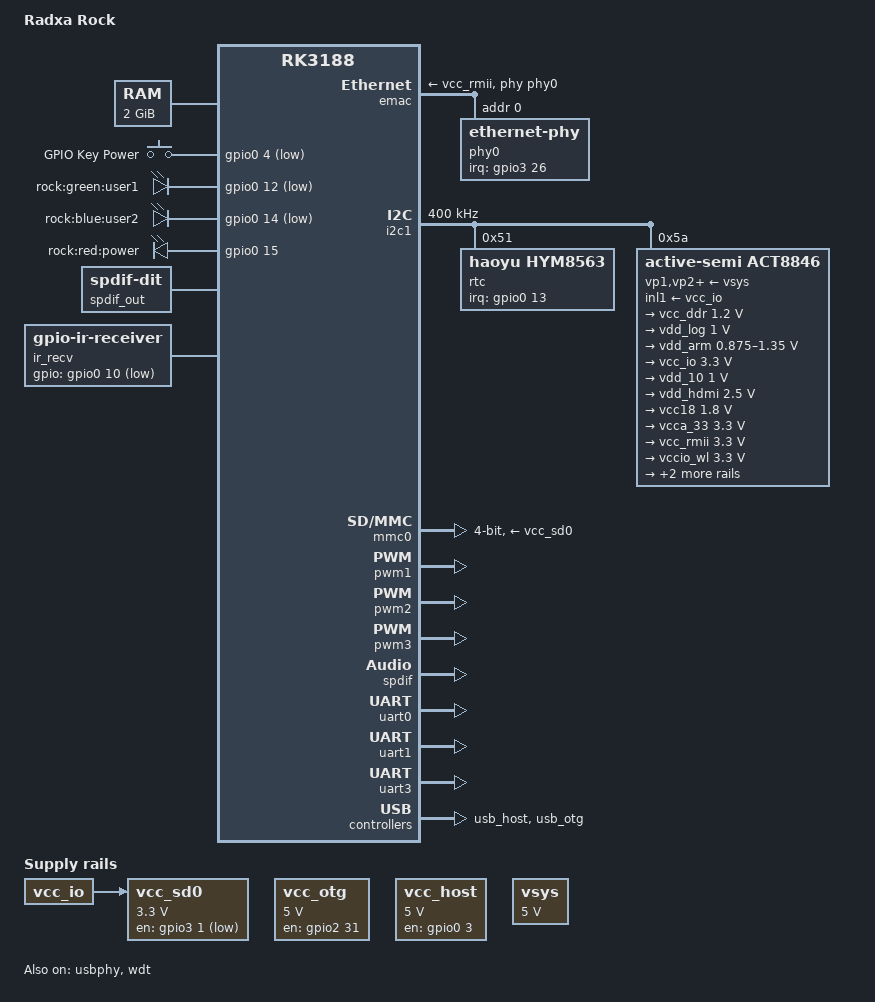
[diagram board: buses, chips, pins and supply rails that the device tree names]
// SPDX-License-Identifier: GPL-2.0+ OR X11
/*
 * Copyright (c) 2013 Heiko Stuebner <heiko@sntech.de>
 */

/dts-v1/;
#include <dt-bindings/input/input.h>
#include "rk3188.dtsi"
#include "rk3188-radxarock-u-boot.dtsi"

/ {
	model = "Radxa Rock";
	compatible = "radxa,rock", "rockchip,rk3188";

	chosen {
/*		stdout-path = &uart2; */
		stdout-path = "serial2:115200n8";
	};

	config {
		u-boot,dm-pre-reloc;
		u-boot,boot-led = "rock:red:power";
	};

	memory {
		device_type = "memory";
		reg = <0x60000000 0x80000000>;
	};

	gpio-keys {
		compatible = "gpio-keys";
		autorepeat;

		power {
			gpios = <&gpio0 4 GPIO_ACTIVE_LOW>;
			linux,code = <KEY_POWER>;
			label = "GPIO Key Power";
			linux,input-type = <1>;
			wakeup-source;
			debounce-interval = <100>;
		};
	};

	gpio-leds {
		compatible = "gpio-leds";

		green {
			label = "rock:green:user1";
			gpios = <&gpio0 12 GPIO_ACTIVE_LOW>;
			default-state = "off";
		};

		blue {
			label = "rock:blue:user2";
			gpios = <&gpio0 14 GPIO_ACTIVE_LOW>;
			default-state = "off";
		};

		sleep {
			label = "rock:red:power";
			gpios = <&gpio0 15 0>;
			default-state = "off";
		};
	};

	sound {
		compatible = "simple-audio-card";
		simple-audio-card,name = "SPDIF";

		simple-audio-card,dai-link@1 {  /* S/PDIF - S/PDIF */
			cpu { sound-dai = <&spdif>; };
			codec { sound-dai = <&spdif_out>; };
		};
	};

	spdif_out: spdif-out {
		compatible = "linux,spdif-dit";
		#sound-dai-cells = <0>;
	};

	ir_recv: gpio-ir-receiver {
		compatible = "gpio-ir-receiver";
		gpios = <&gpio0 10 1>;
		pinctrl-names = "default";
		pinctrl-0 = <&ir_recv_pin>;
	};

	vcc_otg: usb-otg-regulator {
		compatible = "regulator-fixed";
		enable-active-high;
		gpio = <&gpio2 31 GPIO_ACTIVE_HIGH>;
		pinctrl-names = "default";
		pinctrl-0 = <&otg_vbus_drv>;
		regulator-name = "otg-vbus";
		regulator-min-microvolt = <5000000>;
		regulator-max-microvolt = <5000000>;
		regulator-always-on;
		regulator-boot-on;
	};

	vcc_sd0: sdmmc-regulator {
		compatible = "regulator-fixed";
		regulator-name = "sdmmc-supply";
		regulator-min-microvolt = <3300000>;
		regulator-max-microvolt = <3300000>;
		gpio = <&gpio3 1 GPIO_ACTIVE_LOW>;
		pinctrl-names = "default";
		pinctrl-0 = <&sdmmc_pwr>;
		startup-delay-us = <100000>;
		vin-supply = <&vcc_io>;
	};

	vcc_host: usb-host-regulator {
		compatible = "regulator-fixed";
		enable-active-high;
		gpio = <&gpio0 3 GPIO_ACTIVE_HIGH>;
		pinctrl-names = "default";
		pinctrl-0 = <&host_vbus_drv>;
		regulator-name = "host-pwr";
		regulator-min-microvolt = <5000000>;
		regulator-max-microvolt = <5000000>;
		regulator-always-on;
		regulator-boot-on;
	};

	vsys: vsys-regulator {
		compatible = "regulator-fixed";
		regulator-name = "vsys";
		regulator-min-microvolt = <5000000>;
		regulator-max-microvolt = <5000000>;
		regulator-boot-on;
	};
};

&dmc {
	rockchip,pctl-timing = <0x12c 0xc8 0x1f4 0x1e 0x4e 0x4 0x69 0x6
		0x3 0x0 0x6 0x5 0xc 0x10 0x6 0x4
		0x4 0x5 0x4 0x200 0x3 0xa 0x40 0x0
		0x1 0x5 0x5 0x3 0xc 0x1e 0x100 0x0
		0x4 0x0>;
	rockchip,phy-timing = <0x208c6690 0x690878 0x10022a00
		0x220 0x40 0x0 0x0>;
	rockchip,sdram-params = <0x24716310 0 2 300000000 3 9 0>;
};

&emac {
	status = "okay";

	pinctrl-names = "default";
	pinctrl-0 = <&emac_xfer>, <&emac_mdio>, <&phy_int>;

	phy = <&phy0>;
	phy-supply = <&vcc_rmii>;

	phy0: ethernet-phy@0 {
		reg = <0>;
		interrupt-parent = <&gpio3>;
		interrupts = <26 IRQ_TYPE_LEVEL_LOW>;
	};
};

&cpu0 {
	cpu0-supply = <&vdd_arm>;
};

&i2c1 {
	status = "okay";
	clock-frequency = <400000>;

	rtc@51 {
		compatible = "haoyu,hym8563";
		reg = <0x51>;
		interrupt-parent = <&gpio0>;
		interrupts = <13 IRQ_TYPE_EDGE_FALLING>;
		pinctrl-names = "default";
		pinctrl-0 = <&rtc_int>;
		#clock-cells = <0>;
		clock-output-names = "xin32k";
	};

	act8846: act8846@5a {
		compatible = "active-semi,act8846";
		reg = <0x5a>;
		status = "okay";
		system-power-controller;

		pinctrl-names = "default";
		pinctrl-0 = <&act8846_dvs0_ctl>;

		vp1-supply = <&vsys>;
		vp2-supply = <&vsys>;
		vp3-supply = <&vsys>;
		vp4-supply = <&vsys>;
		inl1-supply = <&vcc_io>;
		inl2-supply = <&vsys>;
		inl3-supply = <&vsys>;

		regulators {
			vcc_ddr: REG1 {
				regulator-name = "VCC_DDR";
				regulator-min-microvolt = <1200000>;
				regulator-max-microvolt = <1200000>;
				regulator-always-on;
			};

			vdd_log: REG2 {
				regulator-name = "VDD_LOG";
				regulator-min-microvolt = <1000000>;
				regulator-max-microvolt = <1000000>;
				regulator-always-on;
			};

			vdd_arm: REG3 {
				regulator-name = "VDD_ARM";
				regulator-min-microvolt = <875000>;
				regulator-max-microvolt = <1350000>;
				regulator-always-on;
			};

			vcc_io: REG4 {
				regulator-name = "VCC_IO";
				regulator-min-microvolt = <3300000>;
				regulator-max-microvolt = <3300000>;
				regulator-always-on;
			};

			vdd_10: REG5 {
				regulator-name = "VDD_10";
				regulator-min-microvolt = <1000000>;
				regulator-max-microvolt = <1000000>;
				regulator-always-on;
			};

			vdd_hdmi: REG6 {
				regulator-name = "VDD_HDMI";
				regulator-min-microvolt = <2500000>;
				regulator-max-microvolt = <2500000>;
				regulator-always-on;
			};

			vcc18: REG7 {
				regulator-name = "VCC_18";
				regulator-min-microvolt = <1800000>;
				regulator-max-microvolt = <1800000>;
				regulator-always-on;
			};

			vcca_33: REG8 {
				regulator-name = "VCCA_33";
				regulator-min-microvolt = <3300000>;
				regulator-max-microvolt = <3300000>;
				regulator-always-on;
			};

			vcc_rmii: REG9 {
				regulator-name = "VCC_RMII";
				regulator-min-microvolt = <3300000>;
				regulator-max-microvolt = <3300000>;
			};

			vccio_wl: REG10 {
				regulator-name = "VCCIO_WL";
				regulator-min-microvolt = <3300000>;
				regulator-max-microvolt = <3300000>;
				regulator-always-on;
			};

			vcc_18: REG11 {
				regulator-name = "VCC18_IO";
				regulator-min-microvolt = <1800000>;
				regulator-max-microvolt = <1800000>;
				regulator-always-on;
			};

			vcc28: REG12 {
				regulator-name = "VCC_28";
				regulator-min-microvolt = <2800000>;
				regulator-max-microvolt = <2800000>;
				regulator-always-on;
			};
		};
	};
};

&mmc0 {
	num-slots = <1>;
	status = "okay";
	pinctrl-names = "default";
	pinctrl-0 = <&sd0_clk>, <&sd0_cmd>, <&sd0_cd>, <&sd0_bus4>;
	vmmc-supply = <&vcc_sd0>;

	bus-width = <4>;
	cap-mmc-highspeed;
	cap-sd-highspeed;
	disable-wp;
};

&pwm1 {
	status = "okay";
};

&pwm2 {
	status = "okay";
};

&pwm3 {
	status = "okay";
};

&pinctrl {
	pcfg_output_low: pcfg-output-low {
		output-low;
	};

	act8846 {
		act8846_dvs0_ctl: act8846-dvs0-ctl {
			rockchip,pins = <RK_GPIO3 27 RK_FUNC_GPIO &pcfg_output_low>;
		};
	};

	hym8563 {
		rtc_int: rtc-int {
			rockchip,pins = <RK_GPIO0 0 RK_FUNC_GPIO &pcfg_pull_up>;
		};
	};

	lan8720a  {
		phy_int: phy-int {
			rockchip,pins = <RK_GPIO3 26 RK_FUNC_GPIO &pcfg_pull_up>;
		};
	};

	ir-receiver {
		ir_recv_pin: ir-recv-pin {
			rockchip,pins = <RK_GPIO0 10 RK_FUNC_GPIO &pcfg_pull_none>;
		};
	};

	sd0 {
		sdmmc_pwr: sdmmc-pwr {
			rockchip,pins = <RK_GPIO3 1 RK_FUNC_GPIO &pcfg_pull_none>;
		};
	};

	usb {
		host_vbus_drv: host-vbus-drv {
			rockchip,pins = <0 3 RK_FUNC_GPIO &pcfg_pull_none>;
		};
		otg_vbus_drv: otg-vbus-drv {
			rockchip,pins = <2 31 RK_FUNC_GPIO &pcfg_pull_none>;
		};
	};
};

&spdif {
	status = "okay";
};

&uart0 {
	status = "okay";
};

&uart1 {
	status = "okay";
};

&uart3 {
	status = "okay";
};

&usbphy {
	status = "okay";
};

&usb_host {
	status = "okay";
};

&usb_otg {
	status = "okay";
};

&wdt {
	status = "okay";
};
